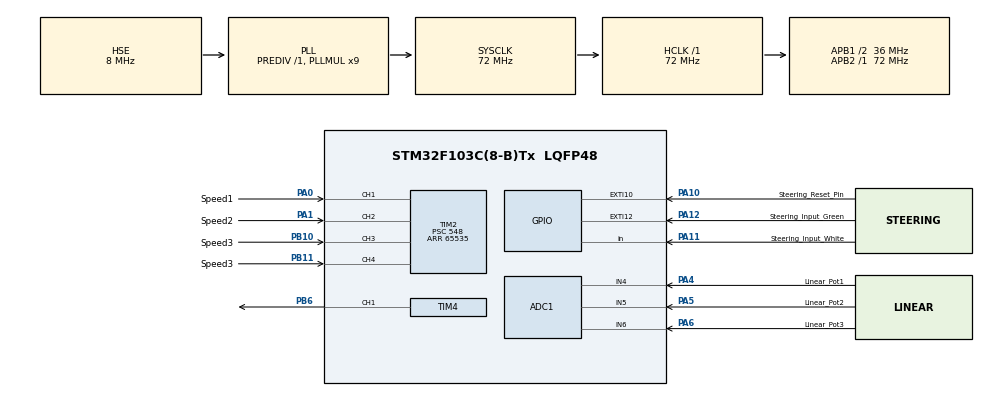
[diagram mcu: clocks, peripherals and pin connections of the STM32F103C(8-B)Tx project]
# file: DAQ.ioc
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ADC1.Channel-0\#ChannelRegularConversion=ADC_CHANNEL_4
ADC1.Channel-1\#ChannelRegularConversion=ADC_CHANNEL_5
ADC1.Channel-2\#ChannelRegularConversion=ADC_CHANNEL_6
ADC1.ContinuousConvMode=ENABLE
ADC1.NbrOfConversion=3
ADC1.NbrOfConversionFlag=1
ADC1.Rank-0\#ChannelRegularConversion=1
ADC1.Rank-1\#ChannelRegularConversion=2
ADC1.Rank-2\#ChannelRegularConversion=3
ADC1.SamplingTime-0\#ChannelRegularConversion=ADC_SAMPLETIME_71CYCLES_5
ADC1.SamplingTime-1\#ChannelRegularConversion=ADC_SAMPLETIME_71CYCLES_5
ADC1.SamplingTime-2\#ChannelRegularConversion=ADC_SAMPLETIME_71CYCLES_5
ADC1.master=1
Dma.ADC1.0.Direction=DMA_PERIPH_TO_MEMORY
Dma.ADC1.0.Instance=DMA1_Channel1
Dma.ADC1.0.MemDataAlignment=DMA_MDATAALIGN_HALFWORD
Dma.ADC1.0.MemInc=DMA_MINC_ENABLE
Dma.ADC1.0.Mode=DMA_CIRCULAR
Dma.ADC1.0.PeriphDataAlignment=DMA_PDATAALIGN_HALFWORD
Dma.ADC1.0.PeriphInc=DMA_PINC_DISABLE
Dma.ADC1.0.Priority=DMA_PRIORITY_LOW
Dma.Request0=ADC1
Mcu.Family=STM32F1
Mcu.Name=STM32F103C(8-B)Tx
Mcu.Package=LQFP48
NVIC.ADC1_2_IRQn=true\:0\:0\:false\:false\:true\:true\:true
NVIC.DMA1_Channel1_IRQn=true\:0\:0\:false\:false\:true\:false\:true
NVIC.EXTI15_10_IRQn=true\:0\:0\:false\:false\:true\:true\:true
NVIC.PriorityGroup=NVIC_PRIORITYGROUP_4
NVIC.TIM2_IRQn=true\:0\:0\:false\:false\:true\:true\:true
PA0-WKUP.GPIO_Label=Speed1
PA0-WKUP.GPIO_PuPd=GPIO_PULLUP
PA0-WKUP.Signal=S_TIM2_CH1_ETR
PA1.GPIO_Label=Speed2
PA1.GPIO_PuPd=GPIO_PULLUP
PA1.Signal=S_TIM2_CH2
PA10.GPIO_Label=Steering_Reset_Pin
PA10.GPIO_PuPd=GPIO_PULLUP
PA10.Signal=GPXTI10
PA11.GPIO_Label=Steering_Input_White
PA11.GPIO_PuPd=GPIO_PULLUP
PA11.Signal=GPIO_Input
PA12.GPIO_Label=Steering_Input_Green
PA12.GPIO_PuPd=GPIO_PULLUP
PA12.Signal=GPXTI12
PA13.Mode=Serial_Wire
PA13.Signal=SYS_JTMS-SWDIO
PA14.Mode=Serial_Wire
PA14.Signal=SYS_JTCK-SWCLK
PA4.GPIO_Label=Linear_Pot1
PA4.Signal=ADCx_IN4
PA5.GPIO_Label=Linear_Pot2
PA5.Signal=ADCx_IN5
PA6.GPIO_Label=Linear_Pot3
PA6.Signal=ADCx_IN6
PB10.GPIO_Label=Speed3
PB10.GPIO_PuPd=GPIO_PULLUP
PB10.Signal=S_TIM2_CH3
PB11.GPIO_Label=Speed3
PB11.GPIO_PuPd=GPIO_PULLUP
PB11.Signal=S_TIM2_CH4
PB6.Signal=S_TIM4_CH1
PD0-OSC_IN.Mode=HSE-External-Oscillator
PD0-OSC_IN.Signal=RCC_OSC_IN
PD1-OSC_OUT.Mode=HSE-External-Oscillator
PD1-OSC_OUT.Signal=RCC_OSC_OUT
ProjectManager.HeapSize=0x200
ProjectManager.StackSize=0x400
ProjectManager.TargetToolchain=TrueSTUDIO
RCC.ADCPresc=RCC_ADCPCLK2_DIV6
RCC.AHBFreq_Value=72000000
RCC.APB1CLKDivider=RCC_HCLK_DIV2
RCC.APB1Freq_Value=36000000
RCC.APB1TimFreq_Value=72000000
RCC.APB2Freq_Value=72000000
RCC.APB2TimFreq_Value=72000000
RCC.HCLKFreq_Value=72000000
RCC.PLLMUL=RCC_PLL_MUL9
RCC.PLLSourceVirtual=RCC_PLLSOURCE_HSE
RCC.SYSCLKFreq_VALUE=72000000
RCC.SYSCLKSource=RCC_SYSCLKSOURCE_PLLCLK
RCC.USBFreq_Value=72000000
SH.ADCx_IN4.0=ADC1_IN4,IN4
SH.ADCx_IN5.0=ADC1_IN5,IN5
SH.ADCx_IN6.0=ADC1_IN6,IN6
SH.S_TIM2_CH1_ETR.0=TIM2_CH1,Input_Capture1_from_TI1
SH.S_TIM2_CH2.0=TIM2_CH2,Input_Capture2_from_TI2
SH.S_TIM2_CH3.0=TIM2_CH3,Input_Capture3_from_TI3
SH.S_TIM2_CH4.0=TIM2_CH4,Input_Capture4_from_TI4
SH.S_TIM4_CH1.0=TIM4_CH1,PWM Generation1 CH1
TIM2.Channel-Input_Capture1_from_TI1=TIM_CHANNEL_1
TIM2.Channel-Input_Capture2_from_TI2=TIM_CHANNEL_2
TIM2.Channel-Input_Capture3_from_TI3=TIM_CHANNEL_3
TIM2.Channel-Input_Capture4_from_TI4=TIM_CHANNEL_4
TIM2.ICFilter_CH1=15
TIM2.ICFilter_CH2=15
TIM2.ICFilter_CH3=15
TIM2.ICFilter_CH4=15
TIM2.ICPolarity_CH1=TIM_INPUTCHANNELPOLARITY_FALLING
TIM2.ICPolarity_CH2=TIM_INPUTCHANNELPOLARITY_FALLING
TIM2.ICPolarity_CH3=TIM_INPUTCHANNELPOLARITY_FALLING
TIM2.ICPolarity_CH4=TIM_INPUTCHANNELPOLARITY_FALLING
TIM2.Period=65535
TIM2.Prescaler=548
TIM4.Channel-PWM\ Generation1\ CH1=TIM_CHANNEL_1
TIM4.Period=58139
TIM4.Prescaler=5
TIM4.Pulse-PWM\ Generation1\ CH1=500
VP_TIM2_VS_ClockSourceINT.Mode=Internal
VP_TIM4_VS_ClockSourceINT.Mode=Internal
board=custom

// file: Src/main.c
/* USER CODE BEGIN Header */
/**
  ******************************************************************************
  * @file           : main.c
  * @brief          : Main program body
  ******************************************************************************
  * @attention
  *
  * <h2><center>&copy; Copyright (c) 2020 STMicroelectronics.
  * All rights reserved.</center></h2>
  *
  * This software component is licensed by ST under BSD 3-Clause license,
  * the "License"; You may not use this file except in compliance with the
  * License. You may obtain a copy of the License at:
  *                        opensource.org/licenses/BSD-3-Clause
  *
  ******************************************************************************
  */
/* USER CODE END Header */

#include "main.h"

/* USER CODE BEGIN PD */
#define PI 3.14
#define RADIUS 0.15
#define NUM_OF_NAILS 5
/* USER CODE END PD */

ADC_HandleTypeDef hadc1;
DMA_HandleTypeDef hdma_adc1;

TIM_HandleTypeDef htim2;
TIM_HandleTypeDef htim4;

/* USER CODE BEGIN PV */

/********Speed sensor***************/
uint8_t flag[4]={0,0,0,0};
float inpCapVal[4]={0,0,0,0};
float speed[4]={0,0,0,0};
float freq_of_nail[4]={0,0,0,0};
float freq_of_wheel[4]={0,0,0,0};
float wheelSpeed=0;
int finalWheelSpeed=0;

/************Steering***********/
signed short finalAngle=90;

/*********************Linear Pot***************/
uint16_t potVal[3]={0,0,0};
double distance[3]={0,0,0};
int finalDistance[3]={0,0,0};

/* USER CODE END PV */

void SystemClock_Config(void);
static void MX_GPIO_Init(void);
static void MX_DMA_Init(void);
static void MX_TIM2_Init(void);
static void MX_ADC1_Init(void);
static void MX_TIM4_Init(void);

/* USER CODE BEGIN 0 */
/*******************Speed*********************/
void HAL_TIM_IC_CaptureCallback(TIM_HandleTypeDef *htim) {
	if (htim->Instance == TIM2) {
		//HAL_GPIO_TogglePin(GPIOC,GPIO_PIN_13);
		if (htim->Channel==HAL_TIM_ACTIVE_CHANNEL_1) // check if channel 1 is interrupted
				{
			if (flag[0] == 0) {
				__HAL_TIM_SET_COUNTER(htim, 0);
				flag[0] = 1;
			} else {
				inpCapVal[0] = __HAL_TIM_GET_COUNTER(htim);
				freq_of_nail[0] = (131147.541) / inpCapVal[0];
				__HAL_TIM_SET_COUNTER(htim, 0);
				freq_of_wheel[0]=freq_of_nail[0]/NUM_OF_NAILS;
				speed[0] = 2 * PI * freq_of_wheel[0] * RADIUS * 18;
				speed[0] = speed[0] / 5;
			}
		}

		if (htim->Channel==HAL_TIM_ACTIVE_CHANNEL_2) // check if channel 2 is interrupted
				{
			if (flag[1] == 0) {
				__HAL_TIM_SET_COUNTER(htim, 0);
				flag[1] = 1;
			} else {
				inpCapVal[1] = __HAL_TIM_GET_COUNTER(htim);
				freq_of_nail[1] = (131147.541) / inpCapVal[1];
				__HAL_TIM_SET_COUNTER(htim, 0);
				freq_of_wheel[1]=freq_of_nail[1]/NUM_OF_NAILS;
				speed[1] = 2 * PI * freq_of_wheel[1] * RADIUS * 18;
				speed[1] = speed[1] / 5;
			}
		}
		if (htim->Channel==HAL_TIM_ACTIVE_CHANNEL_3) // check if channel 3 is interrupted
				{
			if (flag[2] == 0) {
				__HAL_TIM_SET_COUNTER(htim, 0);
				flag[2] = 1;
			} else {
				inpCapVal[2] = __HAL_TIM_GET_COUNTER(htim);
				freq_of_nail[2] = (131147.541) / inpCapVal[2];
				__HAL_TIM_SET_COUNTER(htim, 0);
				freq_of_wheel[2]=freq_of_nail[2]/NUM_OF_NAILS;
				speed[2] = 2 * PI * freq_of_wheel[2] * RADIUS * 18;
				speed[2] = speed[2] / 5;
			}
		}
		if (htim->Channel==HAL_TIM_ACTIVE_CHANNEL_4) // check if channel 4 is interrupted
				{
			if (flag[3] == 0) {
				__HAL_TIM_SET_COUNTER(htim, 0);
				flag[3] = 1;
			} else {
				inpCapVal[3] = __HAL_TIM_GET_COUNTER(htim);
				freq_of_nail[3] = (131147.541) / inpCapVal[3];
				__HAL_TIM_SET_COUNTER(htim, 0);
				freq_of_wheel[3]=freq_of_nail[3]/NUM_OF_NAILS;
				speed[3] = 2 * PI * freq_of_wheel[3] * RADIUS * 18;
				speed[3] = speed[3] / 5;
			}
		}

	}
}
void averageWheelSpeed(void)
{
	wheelSpeed=speed[0]+speed[1]+speed[2]+speed[3];
	wheelSpeed=wheelSpeed/4;
	finalWheelSpeed=wheelSpeed;
}

/**************************Steering************************/
void HAL_GPIO_EXTI_Callback(uint16_t GPIO_Pin)
{
	if(GPIO_Pin==GPIO_PIN_12)
	{
		if(HAL_GPIO_ReadPin(GPIOA,GPIO_PIN_11)==1)
			finalAngle++;
		else
			finalAngle--;
	}
	if(GPIO_Pin==GPIO_PIN_10)
	{
		finalAngle=90;
	}
}
/* USER CODE END 0 */

int main(void)
{

  /* MCU Configuration--------------------------------------------------------*/

  /* Reset of all peripherals, Initializes the Flash interface and the Systick. */
  HAL_Init();

  /* Configure the system clock */
  SystemClock_Config();

  /* Initialize all configured peripherals */
  MX_GPIO_Init();
  MX_DMA_Init();
  MX_TIM2_Init();
  MX_ADC1_Init();
  MX_TIM4_Init();
  /* USER CODE BEGIN 2 */
  /**********************Speed***********/
  HAL_TIM_Base_Start(&htim2);
  HAL_TIM_IC_Start_IT(&htim2,TIM_CHANNEL_1);
  HAL_TIM_IC_Start_IT(&htim2,TIM_CHANNEL_2);
  HAL_TIM_IC_Start_IT(&htim2,TIM_CHANNEL_3);
  HAL_TIM_IC_Start_IT(&htim2,TIM_CHANNEL_4);
  HAL_TIM_PWM_Start(&htim4,TIM_CHANNEL_1);

  /************Linear Pot**************/
  HAL_ADC_Start_DMA(&hadc1,(uint32_t*)potVal,3);
  /* USER CODE END 2 */

  /* Infinite loop */
  while (1)
  {

    /* USER CODE BEGIN 3 */
	  /************Speed*******/
	averageWheelSpeed();

	/*******************Linear Pot**************/
    distance[0]=(1/76.846)*(potVal[0]+134.17);
    finalDistance[0]=distance[0];
    distance[1]=(1/0.15)*(log(potVal[1]-1));
    finalDistance[1]=distance[1];
    distance[2]=(1/0.15)*(log(potVal[2]-1));
    finalDistance[2]=distance[2];
  }
  /* USER CODE END 3 */
}

void SystemClock_Config(void)
{
  RCC_OscInitTypeDef RCC_OscInitStruct = {0};
  RCC_ClkInitTypeDef RCC_ClkInitStruct = {0};
  RCC_PeriphCLKInitTypeDef PeriphClkInit = {0};

  /** Initializes the CPU, AHB and APB busses clocks
  */
  RCC_OscInitStruct.OscillatorType = RCC_OSCILLATORTYPE_HSE;
  RCC_OscInitStruct.HSEState = RCC_HSE_ON;
  RCC_OscInitStruct.HSEPredivValue = RCC_HSE_PREDIV_DIV1;
  RCC_OscInitStruct.HSIState = RCC_HSI_ON;
  RCC_OscInitStruct.PLL.PLLState = RCC_PLL_ON;
  RCC_OscInitStruct.PLL.PLLSource = RCC_PLLSOURCE_HSE;
  RCC_OscInitStruct.PLL.PLLMUL = RCC_PLL_MUL9;
  if (HAL_RCC_OscConfig(&RCC_OscInitStruct) != HAL_OK)
  {
    Error_Handler();
  }
  /** Initializes the CPU, AHB and APB busses clocks
  */
  RCC_ClkInitStruct.ClockType = RCC_CLOCKTYPE_HCLK|RCC_CLOCKTYPE_SYSCLK
                              |RCC_CLOCKTYPE_PCLK1|RCC_CLOCKTYPE_PCLK2;
  RCC_ClkInitStruct.SYSCLKSource = RCC_SYSCLKSOURCE_PLLCLK;
  RCC_ClkInitStruct.AHBCLKDivider = RCC_SYSCLK_DIV1;
  RCC_ClkInitStruct.APB1CLKDivider = RCC_HCLK_DIV2;
  RCC_ClkInitStruct.APB2CLKDivider = RCC_HCLK_DIV1;

  if (HAL_RCC_ClockConfig(&RCC_ClkInitStruct, FLASH_LATENCY_2) != HAL_OK)
  {
    Error_Handler();
  }
  PeriphClkInit.PeriphClockSelection = RCC_PERIPHCLK_ADC;
  PeriphClkInit.AdcClockSelection = RCC_ADCPCLK2_DIV6;
  if (HAL_RCCEx_PeriphCLKConfig(&PeriphClkInit) != HAL_OK)
  {
    Error_Handler();
  }
}

static void MX_ADC1_Init(void)
{

  ADC_ChannelConfTypeDef sConfig = {0};

  /** Common config
  */
  hadc1.Instance = ADC1;
  hadc1.Init.ScanConvMode = ADC_SCAN_ENABLE;
  hadc1.Init.ContinuousConvMode = ENABLE;
  hadc1.Init.DiscontinuousConvMode = DISABLE;
  hadc1.Init.ExternalTrigConv = ADC_SOFTWARE_START;
  hadc1.Init.DataAlign = ADC_DATAALIGN_RIGHT;
  hadc1.Init.NbrOfConversion = 3;
  if (HAL_ADC_Init(&hadc1) != HAL_OK)
  {
    Error_Handler();
  }
  /** Configure Regular Channel
  */
  sConfig.Channel = ADC_CHANNEL_4;
  sConfig.Rank = ADC_REGULAR_RANK_1;
  sConfig.SamplingTime = ADC_SAMPLETIME_71CYCLES_5;
  if (HAL_ADC_ConfigChannel(&hadc1, &sConfig) != HAL_OK)
  {
    Error_Handler();
  }
  /** Configure Regular Channel
  */
  sConfig.Channel = ADC_CHANNEL_5;
  sConfig.Rank = ADC_REGULAR_RANK_2;
  if (HAL_ADC_ConfigChannel(&hadc1, &sConfig) != HAL_OK)
  {
    Error_Handler();
  }
  /** Configure Regular Channel
  */
  sConfig.Channel = ADC_CHANNEL_6;
  sConfig.Rank = ADC_REGULAR_RANK_3;
  if (HAL_ADC_ConfigChannel(&hadc1, &sConfig) != HAL_OK)
  {
    Error_Handler();
  }

}

static void MX_TIM2_Init(void)
{

  TIM_ClockConfigTypeDef sClockSourceConfig = {0};
  TIM_MasterConfigTypeDef sMasterConfig = {0};
  TIM_IC_InitTypeDef sConfigIC = {0};

  htim2.Instance = TIM2;
  htim2.Init.Prescaler = 548;
  htim2.Init.CounterMode = TIM_COUNTERMODE_UP;
  htim2.Init.Period = 65535;
  htim2.Init.ClockDivision = TIM_CLOCKDIVISION_DIV1;
  htim2.Init.AutoReloadPreload = TIM_AUTORELOAD_PRELOAD_DISABLE;
  if (HAL_TIM_Base_Init(&htim2) != HAL_OK)
  {
    Error_Handler();
  }
  sClockSourceConfig.ClockSource = TIM_CLOCKSOURCE_INTERNAL;
  if (HAL_TIM_ConfigClockSource(&htim2, &sClockSourceConfig) != HAL_OK)
  {
    Error_Handler();
  }
  if (HAL_TIM_IC_Init(&htim2) != HAL_OK)
  {
    Error_Handler();
  }
  sMasterConfig.MasterOutputTrigger = TIM_TRGO_RESET;
  sMasterConfig.MasterSlaveMode = TIM_MASTERSLAVEMODE_DISABLE;
  if (HAL_TIMEx_MasterConfigSynchronization(&htim2, &sMasterConfig) != HAL_OK)
  {
    Error_Handler();
  }
  sConfigIC.ICPolarity = TIM_INPUTCHANNELPOLARITY_FALLING;
  sConfigIC.ICSelection = TIM_ICSELECTION_DIRECTTI;
  sConfigIC.ICPrescaler = TIM_ICPSC_DIV1;
  sConfigIC.ICFilter = 15;
  if (HAL_TIM_IC_ConfigChannel(&htim2, &sConfigIC, TIM_CHANNEL_1) != HAL_OK)
  {
    Error_Handler();
  }
  if (HAL_TIM_IC_ConfigChannel(&htim2, &sConfigIC, TIM_CHANNEL_2) != HAL_OK)
  {
    Error_Handler();
  }
  if (HAL_TIM_IC_ConfigChannel(&htim2, &sConfigIC, TIM_CHANNEL_3) != HAL_OK)
  {
    Error_Handler();
  }
  if (HAL_TIM_IC_ConfigChannel(&htim2, &sConfigIC, TIM_CHANNEL_4) != HAL_OK)
  {
    Error_Handler();
  }

}

static void MX_TIM4_Init(void)
{

  TIM_ClockConfigTypeDef sClockSourceConfig = {0};
  TIM_MasterConfigTypeDef sMasterConfig = {0};
  TIM_OC_InitTypeDef sConfigOC = {0};

  htim4.Instance = TIM4;
  htim4.Init.Prescaler = 5;
  htim4.Init.CounterMode = TIM_COUNTERMODE_UP;
  htim4.Init.Period = 58139;
  htim4.Init.ClockDivision = TIM_CLOCKDIVISION_DIV1;
  htim4.Init.AutoReloadPreload = TIM_AUTORELOAD_PRELOAD_DISABLE;
  if (HAL_TIM_Base_Init(&htim4) != HAL_OK)
  {
    Error_Handler();
  }
  sClockSourceConfig.ClockSource = TIM_CLOCKSOURCE_INTERNAL;
  if (HAL_TIM_ConfigClockSource(&htim4, &sClockSourceConfig) != HAL_OK)
  {
    Error_Handler();
  }
  if (HAL_TIM_PWM_Init(&htim4) != HAL_OK)
  {
    Error_Handler();
  }
  sMasterConfig.MasterOutputTrigger = TIM_TRGO_RESET;
  sMasterConfig.MasterSlaveMode = TIM_MASTERSLAVEMODE_DISABLE;
  if (HAL_TIMEx_MasterConfigSynchronization(&htim4, &sMasterConfig) != HAL_OK)
  {
    Error_Handler();
  }
  sConfigOC.OCMode = TIM_OCMODE_PWM1;
  sConfigOC.Pulse = 500;
  sConfigOC.OCPolarity = TIM_OCPOLARITY_HIGH;
  sConfigOC.OCFastMode = TIM_OCFAST_DISABLE;
  if (HAL_TIM_PWM_ConfigChannel(&htim4, &sConfigOC, TIM_CHANNEL_1) != HAL_OK)
  {
    Error_Handler();
  }
  HAL_TIM_MspPostInit(&htim4);

}

static void MX_DMA_Init(void)
{
  /* DMA controller clock enable */
  __HAL_RCC_DMA1_CLK_ENABLE();

  /* DMA interrupt init */
  /* DMA1_Channel1_IRQn interrupt configuration */
  HAL_NVIC_SetPriority(DMA1_Channel1_IRQn, 0, 0);
  HAL_NVIC_EnableIRQ(DMA1_Channel1_IRQn);

}

static void MX_GPIO_Init(void)
{
  GPIO_InitTypeDef GPIO_InitStruct = {0};

  /* GPIO Ports Clock Enable */
  __HAL_RCC_GPIOD_CLK_ENABLE();
  __HAL_RCC_GPIOA_CLK_ENABLE();
  __HAL_RCC_GPIOB_CLK_ENABLE();

  /*Configure GPIO pins : Steering_Reset_Pin_Pin Steering_Input_Green_Pin */
  GPIO_InitStruct.Pin = Steering_Reset_Pin_Pin|Steering_Input_Green_Pin;
  GPIO_InitStruct.Mode = GPIO_MODE_IT_RISING;
  GPIO_InitStruct.Pull = GPIO_PULLUP;
  HAL_GPIO_Init(GPIOA, &GPIO_InitStruct);

  /*Configure GPIO pin : Steering_Input_White_Pin */
  GPIO_InitStruct.Pin = Steering_Input_White_Pin;
  GPIO_InitStruct.Mode = GPIO_MODE_INPUT;
  GPIO_InitStruct.Pull = GPIO_PULLUP;
  HAL_GPIO_Init(Steering_Input_White_GPIO_Port, &GPIO_InitStruct);

  /* EXTI interrupt init*/
  HAL_NVIC_SetPriority(EXTI15_10_IRQn, 0, 0);
  HAL_NVIC_EnableIRQ(EXTI15_10_IRQn);

}

void Error_Handler(void)
{
}

/************************ (C) COPYRIGHT STMicroelectronics *****END OF FILE****/
